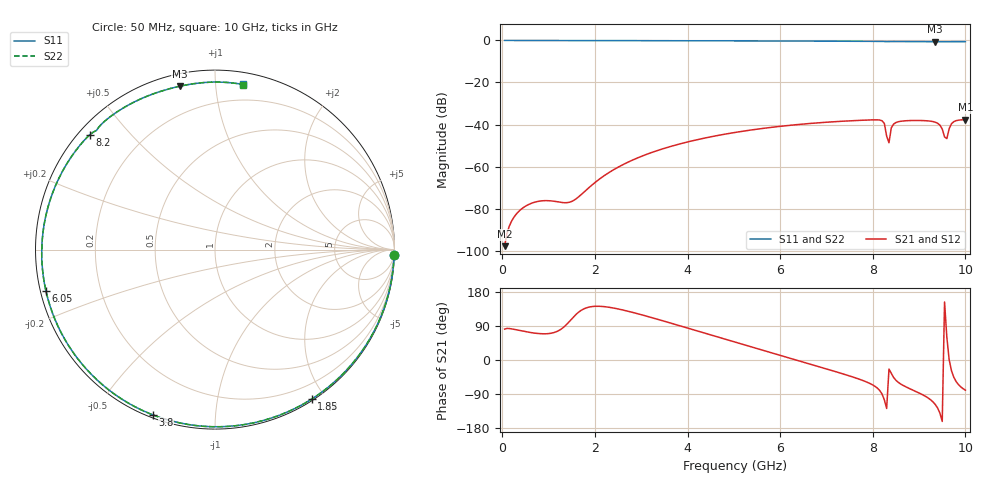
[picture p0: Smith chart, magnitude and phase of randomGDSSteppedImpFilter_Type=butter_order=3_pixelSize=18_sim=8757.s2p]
! freq	dB(S11)	phase(S11)	dB(S12)	phase(S12)
!  dB(S21)	phase(S21)	dB(S22)	phase(S22)
!S-par simulation data
#  GHz  S  DB  R 50
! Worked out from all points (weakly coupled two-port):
!   200 points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, 50 MHz to 10 GHz, reference 50 ohm
!   highest |S21| = -37.71 dB at 10 GHz (marker M1); lowest = -97.9 dB at 50 MHz (marker M2)
!   lowest |S11| = -0.6 dB at 9.35 GHz (marker M3), VSWR 28.04, Z = 2.95 + j40.3 ohm
!   |S11| at or under -10 dB: nowhere
!   |S22| runs from -0.6 to 0.0 dB; largest |S21 - S12| = 0
!   S11 on the Smith chart (normalised r, x): 50 MHz: 5, -71; 1.85 GHz: 0.02, -1.84; 3.8 GHz: 0.01, -0.69; 6.05 GHz: 0.02, -0.12; 8.2 GHz: 0.03, +0.39; 10 GHz: 0.08, +1.18
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0.05  -0.02 -1.6  -97.87 81.4  -97.87 81.4  -0.02 -1.6
0.4  -0.02 -12.7  -80.44 77.3  -80.44 77.3  -0.02 -12.7
0.85  -0.03 -26.8  -76.32 69.3  -76.32 69.3  -0.03 -26.8
1.45  -0.06 -45.2  -76.97 101.8  -76.97 101.8  -0.06 -45.2
1.75  -0.07 -54.2  -72.42 134.2  -72.42 134.2  -0.07 -54.2
1.85  -0.07 -57.1  -70.43 138.9  -70.43 138.9  -0.07 -57.1
2.5  -0.09 -75.8  -60.31 134.7  -60.31 134.7  -0.09 -75.8
3.4  -0.13 -100.2  -52.02 105.8  -52.02 105.8  -0.13 -100.2
3.8  -0.14 -110.6  -49.43 91.5  -49.43 91.5  -0.14 -110.6
5.05  -0.20 -141.8  -43.69 46.3  -43.69 46.3  -0.20 -141.8
6.05  -0.27 -166.2  -40.75 10.5  -40.75 10.5  -0.27 -166.2
6.7  -0.32 177.7  -39.40 -12.7  -39.40 -12.7  -0.32 177.7
8.2  -0.48 137.4  -38.22 -89.7  -38.22 -89.7  -0.48 137.4
8.25  -0.52 135.9  -39.50 -105.2  -39.50 -105.2  -0.52 135.9
8.35  -0.54 133.7  -48.66 -23.9  -48.66 -23.9  -0.54 133.7
8.4  -0.51 132.2  -41.61 -35.0  -41.61 -35.0  -0.51 132.2
8.5  -0.51 129.2  -39.06 -53.5  -39.06 -53.5  -0.51 129.2
9.35  -0.62 102.1  -38.91 -117.5  -38.91 -117.5  -0.62 102.1
9.45  -0.62 98.7  -40.31 -140.1  -40.31 -140.1  -0.62 98.7
9.6  -0.61 93.7  -46.69 59.4  -46.69 59.4  -0.61 93.7
9.7  -0.60 90.4  -39.63 -28.5  -39.63 -28.5  -0.60 90.4
10  -0.60 80.3  -37.71 -79.7  -37.71 -79.7  -0.60 80.3
